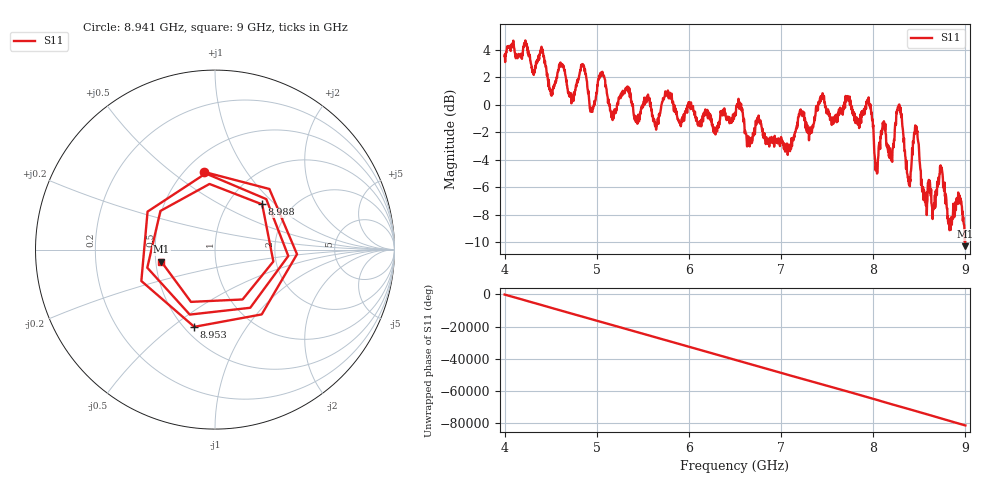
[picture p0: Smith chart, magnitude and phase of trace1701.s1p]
! Created with skrf 1.8.0 (http://scikit-rf.org).
# Hz S RI R 50.0
!freq ReS11 ImS11
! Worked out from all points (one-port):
!   1601 points, 4 GHz to 9 GHz, reference 50 ohm
!   lowest |S11| = -10.3 dB at 9 GHz (marker M1), VSWR 1.88, Z = 26.8 - j4 ohm
!   |S11| at or under -10 dB: 8.997896 GHz to end of sweep
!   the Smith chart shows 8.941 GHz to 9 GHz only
!   S11 on the Smith chart (normalised r, x): 8.941 GHz: 0.61, +0.66; 8.953 GHz: 0.56, -0.60; 8.988 GHz: 1.43, +0.83; 9 GHz: 0.54, -0.08
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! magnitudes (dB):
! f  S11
! 4 GHz  3.5
! 4.403 GHz  4.2
! 4.509 GHz  0.7
! 4.625 GHz  3.0
! 4.725 GHz  0.1
! 4.853 GHz  2.8
! 4.947 GHz  -0.5
! 5.047 GHz  2.2
! 5.166 GHz  -0.8
! 5.25 GHz  0.6
! 5.875 GHz  -1.0
! 6.5 GHz  -0.8
! 7.125 GHz  -2.4
! 7.75 GHz  0.3
! 7.956 GHz  0.0
! 8.034 GHz  -4.3
! 8.109 GHz  -1.4
! 8.197 GHz  -4.1
! 8.284 GHz  0.0
! 8.375 GHz  -5.3
! 8.466 GHz  -1.7
! 8.562 GHz  -7.1
! 8.731 GHz  -4.4
! 8.831 GHz  -8.6
! 8.941 GHz  -7.2
! 8.953 GHz  -7.0
! 8.988 GHz  -8.8
! 9 GHz  -10.3
